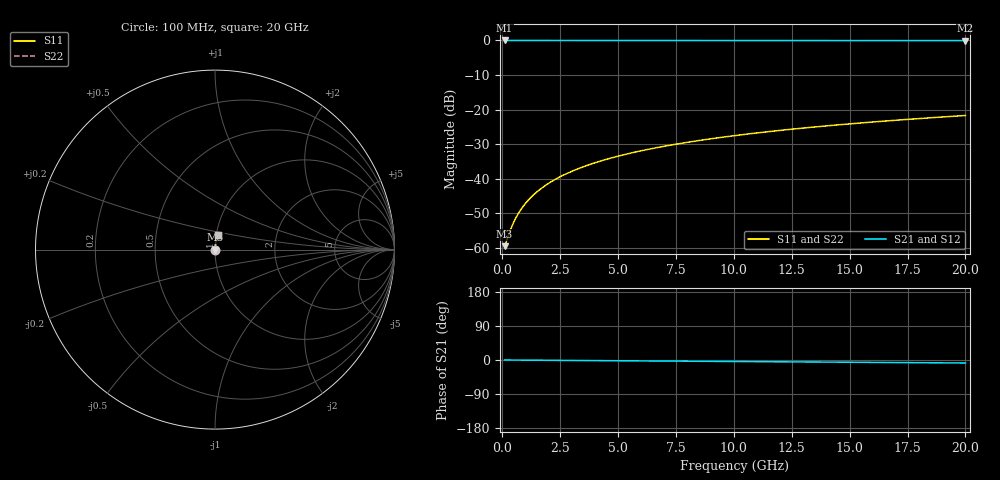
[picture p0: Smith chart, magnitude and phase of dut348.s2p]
! Touchstone file exported from HFSS 2026.1.0
!  File:  C:/ffzhzh/LocalFiles/Ansys_Project_Files/temp_train_TSV_348_1783019028_4048.aedt
!  Generated:  03:06:26 AM Jul  3, 2026
!  Design:  TSV
!  Project:  temp_train_TSV_348_1783019028_4048
! Variables:
!  h_bsmrdl = 2um
!  h_ox = 20um
!  h_rdl = 5um
!  h_sub = 60.66um
!  h_tmrdl = 5um
!  h_tsv = 60.66um
!  h_via = 3um
!  l_bsmrdl = 300um
!  l_sub = 405.44um
!  l_tmrdl = 200um
!  m_sub = 200um
!  pitch = 34.11um
!  r_tsv = 2.72um
!  s_tmrdl = 10um
!  w_bsmrdl = 18um
!  w_sub = 500um
!  w_tmrdl = 12um
!  x_tsv_center1 = 206um
!  x_tsv_center2 = 524um
!  x_tsv_center3 = 736um
!  x_tsv_center4 = 1054um
!  x_tsv_center5 = 1266um
!  x_tsv_center6 = 1584um
# GHz S MA R 50.000000
! Terminal data exported
! Port[1] = TSV1_1_T1
! Port[2] = TSV1_1_T2
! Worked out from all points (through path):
!   200 points, 100 MHz to 20 GHz, reference 50 ohm
!   highest |S21| = -0.01 dB at 100 MHz (marker M1); lowest = -0.1 dB at 20 GHz (marker M2)
!   group delay of S21, straight-line fit = 1.09 ps
!   lowest |S11| = -59.5 dB at 100 MHz (marker M3), VSWR 1.00, Z = 50.1 + j0.0437 ohm
!   |S11| at or under -10 dB: start of sweep to end of sweep
!   |S22| runs from -59.5 to -21.7 dB; largest |S21 - S12| = 2.7e-15
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0.1  0.001062 24.2  0.999 -0.0  0.999 -0.0  0.001062 24.2
! Gamma 0 0 0 0
! Port Impedance 50 0 50 0
0.4  0.001994 60.1  0.999 -0.2  0.999 -0.2  0.001994 60.1
0.5  0.002378 65.0  0.999 -0.2  0.999 -0.2  0.002378 65.0
0.6  0.002773 68.6  0.999 -0.2  0.999 -0.2  0.002773 68.6
0.7  0.003175 71.2  0.999 -0.3  0.999 -0.3  0.003175 71.2
0.9  0.003992 74.9  0.999 -0.4  0.999 -0.4  0.003992 74.9
1.2  0.005237 78.1  0.999 -0.5  0.999 -0.5  0.005237 78.1
1.4  0.006073 79.6  0.9989 -0.6  0.9989 -0.6  0.006073 79.6
1.7  0.007334 81.0  0.9989 -0.7  0.9989 -0.7  0.007334 81.0
2.2  0.009441 82.5  0.9989 -0.9  0.9989 -0.9  0.009441 82.5
2.8  0.01197 83.5  0.9988 -1.1  0.9988 -1.1  0.01197 83.5
3.5  0.01493 84.1  0.9987 -1.4  0.9987 -1.4  0.01493 84.1
4.2  0.01788 84.3  0.9986 -1.7  0.9986 -1.7  0.01788 84.3
5  0.02124 84.4  0.9985 -2.0  0.9985 -2.0  0.02124 84.4
5.9  0.025 84.4  0.9983 -2.4  0.9983 -2.4  0.025 84.4
6.8  0.02875 84.2  0.9981 -2.7  0.9981 -2.7  0.02875 84.2
8.3  0.03496 83.9  0.9977 -3.3  0.9977 -3.3  0.03496 83.9
10.1  0.04235 83.4  0.9972 -4.0  0.9972 -4.0  0.04235 83.4
11.7  0.04887 82.9  0.9967 -4.7  0.9967 -4.7  0.04887 82.9
13.4  0.05577 82.3  0.9962 -5.3  0.9962 -5.3  0.05577 82.3
16.7  0.06905 81.2  0.995 -6.6  0.995 -6.6  0.06905 81.2
20  0.08223 80.1  0.9938 -7.9  0.9938 -7.9  0.08223 80.1
